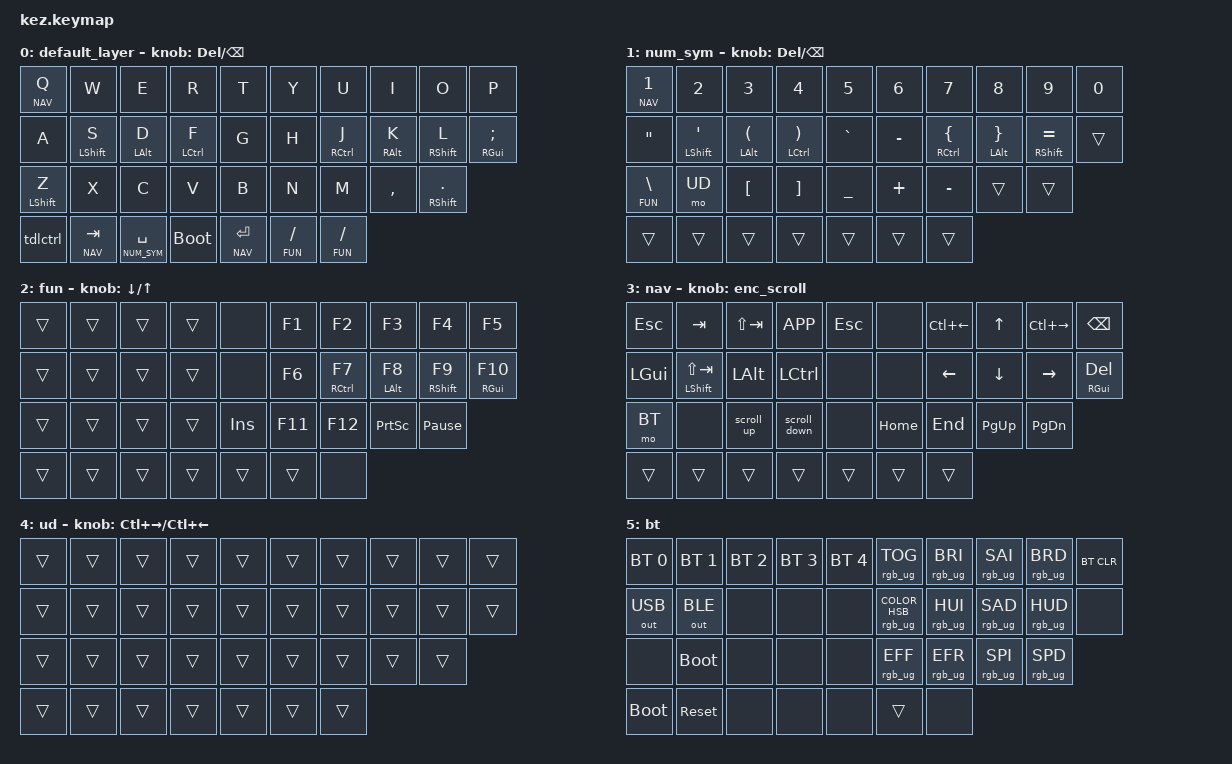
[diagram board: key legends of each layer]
#include <behaviors.dtsi>
#include <dt-bindings/zmk/keys.h>
#include <dt-bindings/zmk/bt.h>
#include <dt-bindings/zmk/outputs.h>
#include <dt-bindings/zmk/rgb.h>

#define DEFAULT 0
#define NUM_SYM 1
#define FUN     2
#define NAV     3
#define UD      4
#define BT      5

#define COMBO_TIMEOUT 20
#define COMBO_IDLE 150
#define LONG_COMBO_TIMEOUT 100
#define TD_TIMEOUT 150
#define SHORT_TD_TIMEOUT 120
#define TAP_TIMEOUT 150
#define QUICK_TAP_MS 175

&lt {
    tapping-term-ms = <TAP_TIMEOUT>;
};

/ {
    behaviors {
        hm: homerow_mods {
            compatible = "zmk,behavior-hold-tap";
            label = "homerow mods";
            #binding-cells = <2>;
            tapping-term-ms = <TAP_TIMEOUT>;
            quick-tap-ms = <50>;
            require-prior-idle-ms = <75>;
            flavor = "balanced";
            bindings = <&kp>, <&kp>;
        };

        hmf: homerow_mods_fast {
            compatible = "zmk,behavior-hold-tap";
            label = "homerow mods fast";
            #binding-cells = <2>;
            tapping-term-ms = <90>;
            quick-tap-ms = <50>;
            require-prior-idle-ms = <75>;
            flavor = "balanced";
            bindings = <&kp>, <&kp>;
        };

        hmn: homerow_mods_nav {
            compatible = "zmk,behavior-hold-tap";
            label = "homerow mods nav";
            #binding-cells = <2>;
            flavor = "balanced";
            tapping-term-ms = <TAP_TIMEOUT>;
            quick-tap-ms = <QUICK_TAP_MS>;
            bindings = <&kp>, <&kp>;
            hold-trigger-on-release;
        };

        tdlctrl: tap_dance_lctrl {
            compatible = "zmk,behavior-tap-dance";
            label = "TAP_DANCE_LCTRL";
            #binding-cells = <0>;
            tapping-term-ms = <TD_TIMEOUT>;
            bindings = <&kp LCTRL>, <&kp LSHFT>;
        };

        tdlalt: tap_dance_lalt {
            compatible = "zmk,behavior-tap-dance";
            label = "TAP_DANCE_LALT";
            #binding-cells = <0>;
            tapping-term-ms = <TD_TIMEOUT>;
            bindings = <&kp LALT>, <&kp LGUI>;
        };

        /*tdk: tap_dance_k {
            compatible = "zmk,behavior-tap-dance";
            label = "TAP_DANCE_K";
            #binding-cells = <0>;
            tapping-term-ms = <SHORT_TD_TIMEOUT>;
            bindings = <&hmf RALT K>;
        };*/

        enc_scroll: encoder_scroll {
            compatible = "zmk,behavior-sensor-rotate";
            label = "ENC_SCROLL";
            #sensor-binding-cells = <0>;
            bindings = <&scroll_down>, <&scroll_up>;
        };
    };
};

/ {
    combos {
        compatible = "zmk,combos";
        combo_qw_tab {
            timeout-ms = <COMBO_TIMEOUT>;
            require-prior-idle-ms = <COMBO_IDLE>;
            key-positions = <0 1>;
            bindings = <&kp TAB>;
        };
        /*
        combo_we_esc {
            timeout-ms = <COMBO_TIMEOUT>;
            key-positions = <1 2>;
            bindings = <&kp ESC>;
        };
        */

        combo_io_del {
            timeout-ms = <COMBO_TIMEOUT>;
            require-prior-idle-ms = <COMBO_IDLE>;
            key-positions = <7 8>;
            bindings = <&kp LC(DEL)>;
        };
        combo_op_bspc {
            timeout-ms = <COMBO_TIMEOUT>;
            require-prior-idle-ms = <COMBO_IDLE>;
            key-positions = <8 9>;
            bindings = <&kp LC(BSPC)>;
        };

        combo_as_save {
            timeout-ms = <COMBO_TIMEOUT>;
            require-prior-idle-ms = <COMBO_IDLE>;
            key-positions = <10 11>;
            bindings = <&kp LC(S)>;
        };

        combo_lsemi_ret {
            timeout-ms = <COMBO_TIMEOUT>;
            require-prior-idle-ms = <COMBO_IDLE>;
            key-positions = <18 19>;
            bindings = <&kp RET>;
        };

        combo_zx_cut {
            timeout-ms = <COMBO_TIMEOUT>;
            require-prior-idle-ms = <COMBO_IDLE>;
            key-positions = <20 21>;
            bindings = <&kp LC(X)>;
        };
        combo_xc_copy {
            timeout-ms = <COMBO_TIMEOUT>;
            require-prior-idle-ms = <COMBO_IDLE>;
            key-positions = <21 22>;
            bindings = <&kp LC(C)>;
        };
        combo_cv_paste {
            timeout-ms = <COMBO_TIMEOUT>;
            require-prior-idle-ms = <COMBO_IDLE>;
            key-positions = <22 23>;
            bindings = <&kp LC(V)>;
        };

        combo_lcrtllalt_fn {
            timeout-ms = <LONG_COMBO_TIMEOUT>;
            key-positions = <29 30>;
            bindings = <&mo FUN>;
        };
    };
};

/ {
    macros {
        ZMK_MACRO(scroll_up,
            wait-ms = <30>;
            tap-ms = <40>;
            bindings = <&kp UP &kp UP &kp UP &kp UP>;
        )
        ZMK_MACRO(scroll_down,
            wait-ms = <30>;
            tap-ms = <40>;
            bindings = <&kp DOWN &kp DOWN &kp DOWN &kp DOWN>;
        )
    };
};

/ {
    keymap {
        compatible = "zmk,keymap";

        default_layer {
            bindings = <
    &lt NAV Q   &kp W       &kp E             &kp R       &kp T       &kp Y        &kp U       &kp I       &kp O       &kp P
    &kp A       &hm LSHFT S &hm LALT D        &hm LCTRL F &kp G       &kp H        &hm RCTRL J &hm RALT K  &hm RSHFT L &hm RGUI SEMI
    &hm LSHFT Z &kp X       &kp C             &kp V       &kp B       &kp N        &kp M       &kp COMMA   &hm RSHFT DOT
    &tdlctrl    &lt NAV TAB &lt NUM_SYM SPACE &bootloader &lt NAV RET &lt FUN FSLH &lt FUN FSLH
            >;

            sensor-bindings = <&inc_dec_kp DEL BSPC>;
        };

        num_sym {
            bindings = <
    &lt NAV N1    &kp N2        &kp N3        &kp N4         &kp N5    &kp N6    &kp N7         &kp N8        &kp N9          &kp N0
    &kp DQT       &hm LSHFT SQT &hm LALT LPAR &hm LCTRL RPAR &kp GRAVE &kp MINUS &hm RCTRL LBRC &hm LALT RBRC &hm RSHFT EQUAL &trans
    &lt FUN BSLH  &mo UD        &kp LBKT      &kp RBKT       &kp UNDER &kp PLUS  &kp MINUS      &trans        &trans
    &trans        &trans        &trans        &trans         &trans    &trans    &trans
            >;

            sensor-bindings = <&inc_dec_kp DEL BSPC>;
        };

        fun {
            bindings = <
    &trans &trans &trans &trans &none    &kp F1  &kp F2       &kp F3      &kp F4          &kp F5
    &trans &trans &trans &trans &none    &kp F6  &hm RCTRL F7 &hm LALT F8 &hm RSHFT F9    &hm RGUI F10
    &trans &trans &trans &trans &kp INS  &kp F11 &kp F12      &kp PSCRN   &kp PAUSE_BREAK
    &trans &trans &trans &trans &trans &trans  &none
            >;

            sensor-bindings = <&inc_dec_kp DOWN UP>;
        };

        nav {
            bindings = <
    &kp ESC  &kp TAB            &kp LS(TAB) &kp K_APP    &kp ESC &none    &kp LC(LEFT) &kp UP    &kp LC(RIGHT) &kp BSPC
    &kp LGUI &hmn LSHFT LS(TAB) &kp LALT    &kp LCTRL    &none   &none    &kp LEFT     &kp DOWN  &kp RIGHT     &hm RGUI DEL
    &mo BT   &none              &scroll_up  &scroll_down &none   &kp HOME &kp END      &kp PG_UP &kp PG_DN
    &trans   &trans             &trans      &trans       &trans  &trans   &trans
            >;

            sensor-bindings = <&enc_scroll>;
        };

        ud {
            bindings = <
    &trans &trans &trans &trans &trans &trans &trans &trans &trans &trans
    &trans &trans &trans &trans &trans &trans &trans &trans &trans &trans
    &trans &trans &trans &trans &trans &trans &trans &trans &trans
    &trans &trans &trans &trans &trans &trans &trans
            >;

            sensor-bindings = <&inc_dec_kp LC(RIGHT) LC(LEFT)>;
        };

        bt {
            bindings = <
    &bt BT_SEL 0 &bt BT_SEL 1 &bt BT_SEL 2 &bt BT_SEL 3 &bt BT_SEL 4 &rgb_ug RGB_TOG  &rgb_ug RGB_BRI &rgb_ug RGB_SAI &rgb_ug RGB_BRD &bt BT_CLR
    &out OUT_USB &out OUT_BLE &none        &none        &none        &rgb_ug RGB_COLOR_HSB(139, 100, 39)  &rgb_ug RGB_HUI &rgb_ug RGB_SAD &rgb_ug RGB_HUD &none
    &none        &bootloader  &none        &none        &none        &rgb_ug RGB_EFF  &rgb_ug RGB_EFR &rgb_ug RGB_SPI &rgb_ug RGB_SPD
    &bootloader  &sys_reset       &none        &none        &none        &trans &none
            >;
        };

    };
};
